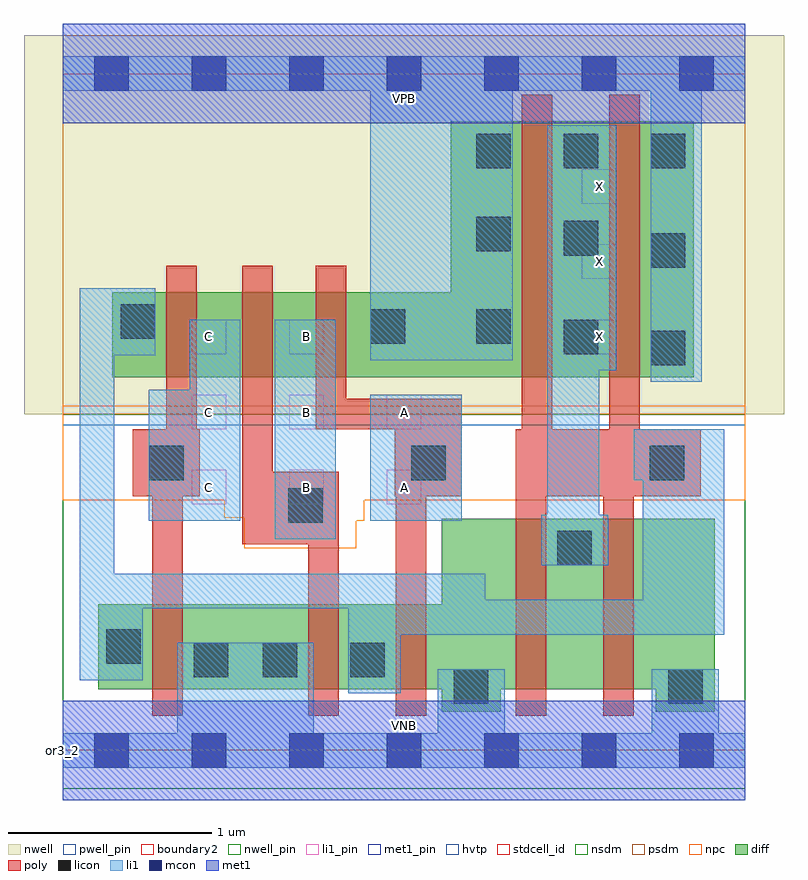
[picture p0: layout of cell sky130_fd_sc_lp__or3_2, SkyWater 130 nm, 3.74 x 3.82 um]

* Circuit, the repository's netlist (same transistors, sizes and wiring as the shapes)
* Copyright 2020 The SkyWater PDK Authors
*
* Licensed under the Apache License, Version 2.0 (the "License");
* you may not use this file except in compliance with the License.
* You may obtain a copy of the License at
*
*     https://www.apache.org/licenses/LICENSE-2.0
*
* Unless required by applicable law or agreed to in writing, software
* distributed under the License is distributed on an "AS IS" BASIS,
* WITHOUT WARRANTIES OR CONDITIONS OF ANY KIND, either express or implied.
* See the License for the specific language governing permissions and
* limitations under the License.
*
* SPDX-License-Identifier: Apache-2.0

.SUBCKT sky130_fd_sc_lp__or3_2 A B C VGND VNB VPB VPWR X
*.PININFO A:I B:I C:I VGND:I VNB:I VPB:I VPWR:I X:O
MMP0 VPWR A sndPA VPB sky130_fd_pr__pfet_01v8_hvt m=1 w=0.42U l=0.15U mult=1 sa=0.265
+ sb=0.265 sd=0.28 area=0.063 perim=1.14
MMP1 sndPA B sndPB VPB sky130_fd_pr__pfet_01v8_hvt m=1 w=0.42U l=0.15U mult=1 sa=0.265
+ sb=0.265 sd=0.28 area=0.063 perim=1.14
MMP2 sndPB C y VPB sky130_fd_pr__pfet_01v8_hvt m=1 w=0.42U l=0.15U mult=1 sa=0.265
+ sb=0.265 sd=0.28 area=0.063 perim=1.14
MMIP3 X y VPWR VPB sky130_fd_pr__pfet_01v8_hvt m=2 w=1.26U l=0.15U mult=1 sa=0.265
+ sb=0.265 sd=0.28 area=0.063 perim=1.14
MMN0 y A VGND VNB sky130_fd_pr__nfet_01v8 m=1 w=0.42U l=0.15U mult=1 sa=0.265 sb=0.265
+ sd=0.28 area=0.063 perim=1.14
MMN1 y B VGND VNB sky130_fd_pr__nfet_01v8 m=1 w=0.42U l=0.15U mult=1 sa=0.265 sb=0.265
+ sd=0.28 area=0.063 perim=1.14
MMN2 y C VGND VNB sky130_fd_pr__nfet_01v8 m=1 w=0.42U l=0.15U mult=1 sa=0.265 sb=0.265
+ sd=0.28 area=0.063 perim=1.14
MMIN3 X y VGND VNB sky130_fd_pr__nfet_01v8 m=2 w=0.84U l=0.15U mult=1 sa=0.265
+ sb=0.265 sd=0.28 area=0.063 perim=1.14
.ENDS sky130_fd_sc_lp__or3_2

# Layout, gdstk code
import gdstk
lib = gdstk.Library(unit=1e-6, precision=1e-09)
def R(c, l, rs):  # rectangles x0, y0, x1, y1
    for r in rs: c.add(gdstk.rectangle(r[:2], r[2:], *l))
def A(c, l, x, y, w, h, nx, ny, dx, dy):  # array of equal rectangles
    R(c, l, [(x+i*dx, y+j*dy, x+i*dx+w, y+j*dy+h) for i in range(nx) for j in range(ny)])
def P(c, l, *ps):  # polygons
    for p in ps: c.add(gdstk.Polygon(p, *l))
nwell_pin = (64, 16)
nwell = (64, 20)
diff = (65, 20)
poly = (66, 20)
licon = (66, 44)
li1_pin = (67, 16)
li1 = (67, 20)
mcon = (67, 44)
met1_pin = (68, 16)
met1 = (68, 20)
hvtp = (78, 44)
stdcell_id = (81, 4)
nsdm = (93, 44)
psdm = (94, 20)
npc = (95, 20)
pwell_pin = (122, 16)
boundary2 = (236, 0)

sky130_fd_sc_lp__or3_2 = lib.new_cell('sky130_fd_sc_lp__or3_2')
R(sky130_fd_sc_lp__or3_2, nwell_pin, [(0,3.085,3.36,3.33)])
R(sky130_fd_sc_lp__or3_2, nwell, [(-0.19,1.655,3.55,3.52)])
P(sky130_fd_sc_lp__or3_2, diff, [(3.105,3.095),(1.91,3.095),(1.91,2.255),(0.245,2.255),(0.245,1.835),(3.105,1.835)],
  [(3.21,1.14),(1.865,1.14),(1.865,0.72),(0.175,0.72),(0.175,0.3),(1.865,0.3),(1.865,0.19),(2.155,0.19),(2.155,0.3),(2.92,0.3),(2.92,0.19),(3.21,0.19)])
P(sky130_fd_sc_lp__or3_2, poly, [(1.965,1.73),(1.395,1.73),(1.395,2.385),(1.245,2.385),(1.245,1.58),(1.635,1.58),(1.635,1.25),(1.64,1.25),(1.64,0.17),(1.79,0.17),(1.79,1.25),(1.965,1.25)],
  [(0.675,1.58),(0.66,1.58),(0.66,2.385),(0.51,2.385),(0.51,1.58),(0.345,1.58),(0.345,1.25),(0.44,1.25),(0.44,0.17),(0.59,0.17),(0.59,1.25),(0.675,1.25)],
  [(1.36,1.37),(1.035,1.37),(1.035,2.385),(0.885,2.385),(0.885,1.015),(1.21,1.015),(1.21,0.17),(1.36,0.17)],
  [(3.14,1.58),(2.84,1.58),(2.84,3.225),(2.69,3.225),(2.69,1.58),(2.41,1.58),(2.41,3.225),(2.26,3.225),(2.26,1.58),(2.23,1.58),(2.23,0.17),(2.38,0.17),(2.38,1.25),(2.66,1.25),(2.66,0.17),(2.81,0.17),(2.81,1.25),(3.14,1.25)])
A(sky130_fd_sc_lp__or3_2, licon, 2.035, 2.865, 0.17, 0.17, 3, 1, 0.43, 0)
R(sky130_fd_sc_lp__or3_2, licon, [(1.925,0.23,2.095,0.4), (2.98,0.23,3.15,0.4), (0.645,0.36,0.815,0.53), (0.985,0.36,1.155,0.53), (1.415,0.36,1.585,0.53), (0.215,0.425,0.385,0.595), (2.435,0.91,2.605,1.08), (1.11,1.12,1.28,1.29), (0.425,1.33,0.595,1.5), (1.715,1.33,1.885,1.5), (2.89,1.33,3.06,1.5), (2.895,1.895,3.065,2.065), (2.465,1.95,2.635,2.12), (1.515,2,1.685,2.17), (2.035,2,2.205,2.17), (0.285,2.025,0.455,2.195), (2.895,2.375,3.065,2.545), (2.465,2.435,2.635,2.605), (2.035,2.455,2.205,2.625)])
A(sky130_fd_sc_lp__or3_2, li1_pin, 0.635, 1.21, 0.17, 0.17, 3, 2, 0.48, 0.37)
A(sky130_fd_sc_lp__or3_2, li1_pin, 2.555, 1.95, 0.17, 0.17, 1, 3, 0, 0.37)
R(sky130_fd_sc_lp__or3_2, li1_pin, [(0.635,1.95,0.805,2.12), (1.115,1.95,1.285,2.12)])
R(sky130_fd_sc_lp__or3_2, li1, [(1.045,1.04,1.345,2.12), (1.515,1.13,1.965,1.75)])
P(sky130_fd_sc_lp__or3_2, li1, [(0.875,2.12),(0.625,2.12),(0.625,1.775),(0.425,1.775),(0.425,1.13),(0.875,1.13)],
  [(2.725,3.075),(2.385,3.075),(2.385,1.16),(2.355,1.16),(2.355,0.91),(2.685,0.91),(2.685,1.16),(2.64,1.16),(2.64,1.87),(2.725,1.87)],
  [(3.255,1.58),(2.81,1.58),(2.81,1.33),(2.855,1.33),(2.855,0.74),(2.08,0.74),(2.08,0.87),(0.255,0.87),(0.255,1.945),(0.455,1.945),(0.455,2.275),(0.085,2.275),(0.085,0.345),(0.395,0.345),(0.395,0.7),(1.405,0.7),(1.405,0.28),(1.665,0.28),(1.665,0.57),(3.255,0.57)],
  [(3.36,3.415),(0,3.415),(0,3.245),(1.515,3.245),(1.515,1.92),(2.215,1.92),(2.215,3.245),(2.895,3.245),(2.895,1.815),(3.145,1.815),(3.145,3.245),(3.36,3.245)],
  [(3.36,0.085),(3.23,0.085),(3.23,0.4),(2.9,0.4),(2.9,0.085),(2.175,0.085),(2.175,0.4),(1.845,0.4),(1.845,0.085),(1.235,0.085),(1.235,0.53),(0.565,0.53),(0.565,0.085),(0,0.085),(0,-0.085),(3.36,-0.085)])
A(sky130_fd_sc_lp__or3_2, mcon, 0.155, -0.085, 0.17, 0.17, 7, 2, 0.48, 3.33)
R(sky130_fd_sc_lp__or3_2, met1_pin, [(0,0,3.36,0.245), (0,3.085,3.36,3.33)])
R(sky130_fd_sc_lp__or3_2, met1, [(0,-0.245,3.36,0.245), (0,3.085,3.36,3.575)])
R(sky130_fd_sc_lp__or3_2, hvtp, [(0,1.6,3.36,3.33)])
R(sky130_fd_sc_lp__or3_2, stdcell_id, [(0,0,3.36,3.33)])
R(sky130_fd_sc_lp__or3_2, nsdm, [(0,-0.19,3.36,1.655)])
R(sky130_fd_sc_lp__or3_2, psdm, [(0,1.655,3.36,3.52)])
P(sky130_fd_sc_lp__or3_2, npc, [(3.36,1.695),(0,1.695),(0,1.23),(0.795,1.23),(0.795,1.145),(0.895,1.145),(0.895,0.995),(1.445,0.995),(1.445,1.13),(1.485,1.13),(1.485,1.23),(3.36,1.23)])
R(sky130_fd_sc_lp__or3_2, pwell_pin, [(0,0,3.36,0.245)])
R(sky130_fd_sc_lp__or3_2, boundary2, [(0,0,3.36,3.33)])
sky130_fd_sc_lp__or3_2.add(gdstk.Label('VNB', (1.68,0.123), layer=64, texttype=59))
sky130_fd_sc_lp__or3_2.add(gdstk.Label('VPB', (1.68,3.208), layer=64, texttype=5))
sky130_fd_sc_lp__or3_2.add(gdstk.Label('or3_2', (0,0), layer=83, texttype=44))
sky130_fd_sc_lp__or3_2.add(gdstk.Label('VPWR', (1.68,3.208), layer=68, texttype=5))
sky130_fd_sc_lp__or3_2.add(gdstk.Label('VGND', (1.68,0.123), layer=68, texttype=5))
sky130_fd_sc_lp__or3_2.add(gdstk.Label('X', (2.64,2.035), layer=67, texttype=5))
sky130_fd_sc_lp__or3_2.add(gdstk.Label('A', (1.68,1.295), layer=67, texttype=5))
sky130_fd_sc_lp__or3_2.add(gdstk.Label('A', (1.68,1.665), layer=67, texttype=5))
sky130_fd_sc_lp__or3_2.add(gdstk.Label('B', (1.2,1.295), layer=67, texttype=5))
sky130_fd_sc_lp__or3_2.add(gdstk.Label('B', (1.2,1.665), layer=67, texttype=5))
sky130_fd_sc_lp__or3_2.add(gdstk.Label('B', (1.2,2.035), layer=67, texttype=5))
sky130_fd_sc_lp__or3_2.add(gdstk.Label('C', (0.72,1.295), layer=67, texttype=5))
sky130_fd_sc_lp__or3_2.add(gdstk.Label('C', (0.72,1.665), layer=67, texttype=5))
sky130_fd_sc_lp__or3_2.add(gdstk.Label('C', (0.72,2.035), layer=67, texttype=5))
sky130_fd_sc_lp__or3_2.add(gdstk.Label('X', (2.64,2.775), layer=67, texttype=5))
sky130_fd_sc_lp__or3_2.add(gdstk.Label('X', (2.64,2.405), layer=67, texttype=5))

lib.write_gds('sky130_fd_sc_lp__or3_2.gds')
